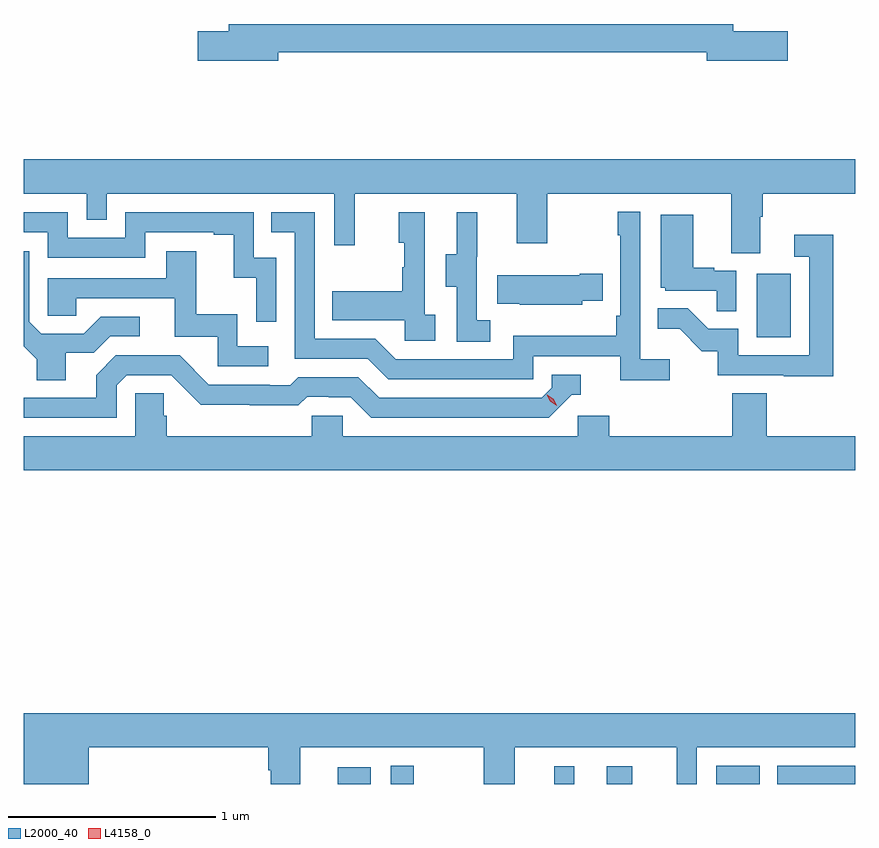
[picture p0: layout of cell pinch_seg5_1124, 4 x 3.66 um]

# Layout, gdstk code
import gdstk
lib = gdstk.Library(unit=1e-6, precision=1e-09)
def R(c, l, rs):  # rectangles x0, y0, x1, y1
    for r in rs: c.add(gdstk.rectangle(r[:2], r[2:], *l))
def P(c, l, *ps):  # polygons
    for p in ps: c.add(gdstk.Polygon(p, *l))
L2000_40 = (2000, 40)
L4158_0 = (4158, 0)

pinch_seg5_1124 = lib.new_cell('pinch_seg5_1124')
R(pinch_seg5_1124, L2000_40, [(853.322,840.599,853.48,840.679), (853.578,840.599,853.687,840.688), (854.363,840.599,854.461,840.685), (854.616,840.599,854.74,840.685), (855.144,840.599,855.353,840.687), (855.438,840.599,855.812,840.687), (855.338,842.748,855.502,843.055)])
P(pinch_seg5_1124, L2000_40, [(853.036,844.12),(855.098,844.12),(855.098,844.078),(855.487,844.078),(855.487,844.22),(855.226,844.22),(855.226,844.256),(852.797,844.256),(852.797,844.22),(852.648,844.22),(852.648,844.078),(853.036,844.078)],
  [(855.355,843.328),(855.368,843.328),(855.368,843.44),(855.812,843.44),(855.812,843.604),(851.812,843.604),(851.812,843.44),(852.114,843.44),(852.114,843.313),(852.21,843.313),(852.21,843.44),(853.305,843.44),(853.305,843.192),(853.403,843.192),(853.403,843.44),(854.183,843.44),(854.183,843.201),(854.331,843.201),(854.331,843.44),(855.215,843.44),(855.215,843.154),(855.355,843.154)],
  [(854.92,842.644),(854.778,842.644),(854.778,843.352),(854.67,843.352),(854.67,843.239),(854.682,843.239),(854.682,842.851),(854.662,842.851),(854.662,842.755),(854.166,842.755),(854.166,842.643),(853.602,842.643),(853.503,842.742),(853.212,842.742),(853.212,843.351),(853.003,843.351),(853.003,843.255),(853.116,843.255),(853.116,842.646),(853.466,842.646),(853.565,842.547),(854.262,842.547),(854.262,842.658),(854.681,842.658),(854.681,842.542),(854.92,842.542)],
  [(853.026,843.132),(852.918,843.132),(852.918,843.351),(852.3,843.351),(852.3,843.228),(852.024,843.228),(852.024,843.351),(851.812,843.351),(851.812,843.255),(851.928,843.255),(851.928,843.132),(852.396,843.132),(852.396,843.255),(852.725,843.255),(852.725,843.243),(852.821,843.243),(852.821,843.035),(852.93,843.035),(852.93,842.823),(853.026,842.823)],
  [(853.792,842.858),(853.74,842.858),(853.74,843.349),(853.616,843.349),(853.616,843.204),(853.642,843.204),(853.642,843.086),(853.632,843.086),(853.632,842.971),(853.297,842.971),(853.297,842.831),(853.644,842.831),(853.644,842.733),(853.792,842.733)],
  [(854.056,842.831),(853.992,842.831),(853.992,843.135),(853.994,843.135),(853.994,843.349),(853.895,843.349),(853.895,843.147),(853.841,843.147),(853.841,842.992),(853.896,842.992),(853.896,842.728),(854.056,842.728)],
  [(855.24,843.069),(855.134,843.069),(855.134,843.082),(855.034,843.082),(855.034,843.337),(854.876,843.337),(854.876,842.988),(854.898,842.988),(854.898,842.973),(855.145,842.973),(855.145,842.875),(855.24,842.875)],
  [(855.707,843.241),(855.519,843.241),(855.519,843.135),(855.591,843.135),(855.591,842.661),(855.249,842.661),(855.249,842.79),(855.105,842.79),(855.007,842.888),(854.863,842.888),(854.863,842.789),(854.967,842.789),(855.074,842.682),(855.151,842.682),(855.151,842.565),(855.469,842.565),(855.469,842.56),(855.707,842.56)],
  [(852.013,842.674),(852.148,842.674),(852.228,842.754),(852.37,842.754),(852.37,842.847),(852.182,842.847),(852.101,842.766),(851.895,842.766),(851.838,842.823),(851.838,843.163),(851.812,843.163),(851.812,842.705),(851.873,842.644),(851.873,842.542),(852.013,842.542)],
  [(852.988,842.706),(852.84,842.706),(852.84,842.86),(852.641,842.86),(852.641,843.163),(852.497,843.163),(852.497,843.033),(851.928,843.033),(851.928,842.853),(852.065,842.853),(852.065,842.937),(852.539,842.937),(852.539,842.751),(852.744,842.751),(852.744,842.61),(852.988,842.61)],
  [(854.499,842.924),(854.597,842.924),(854.597,843.054),(854.486,843.054),(854.486,843.046),(854.089,843.046),(854.089,842.909),(854.197,842.909),(854.197,842.906),(854.499,842.906)],
  [(852.258,842.517),(852.306,842.565),(852.522,842.565),(852.664,842.423),(852.9,842.423),(852.9,842.421),(853.133,842.421),(853.175,842.463),(853.278,842.463),(853.278,842.46),(853.385,842.46),(853.484,842.361),(854.337,842.361),(854.448,842.472),(854.491,842.472),(854.491,842.568),(854.352,842.568),(854.352,842.505),(854.304,842.457),(853.521,842.457),(853.422,842.556),(853.133,842.556),(853.094,842.517),(852.995,842.517),(852.995,842.52),(852.702,842.52),(852.561,842.661),(852.255,842.661),(852.161,842.567),(852.161,842.457),(851.812,842.457),(851.812,842.361),(852.258,842.361)],
  [(855.812,842.272),(855.386,842.272),(855.386,842.48),(855.221,842.48),(855.221,842.272),(854.63,842.272),(854.63,842.37),(854.478,842.37),(854.478,842.272),(853.347,842.272),(853.347,842.37),(853.197,842.37),(853.197,842.272),(852.5,842.272),(852.5,842.37),(852.485,842.37),(852.485,842.48),(852.348,842.48),(852.348,842.272),(851.812,842.272),(851.812,842.108),(855.812,842.108)],
  [(852.124,840.776),(852.989,840.776),(852.989,840.664),(853.001,840.664),(853.001,840.599),(853.141,840.599),(853.141,840.776),(854.026,840.776),(854.026,840.599),(854.173,840.599),(854.173,840.776),(854.954,840.776),(854.954,840.599),(855.051,840.599),(855.051,840.776),(855.812,840.776),(855.812,840.94),(851.812,840.94),(851.812,840.599),(852.124,840.599)])
P(pinch_seg5_1124, L4158_0, [(854.377,842.42),(854.346,842.44),(854.329,842.472),(854.329,842.472),(854.33,842.472),(854.36,842.453),(854.377,842.421),(854.377,842.42)])

lib.write_gds('pinch_seg5_1124.gds')
